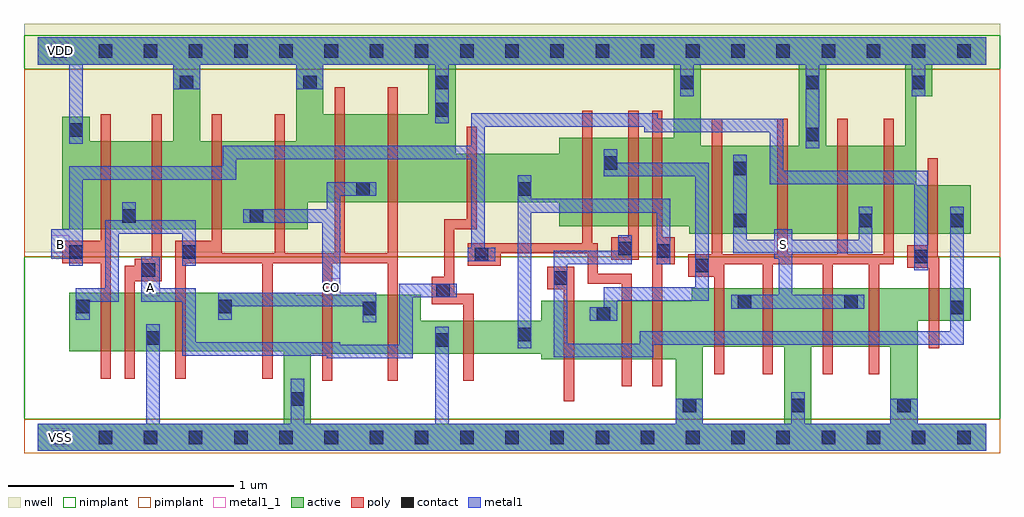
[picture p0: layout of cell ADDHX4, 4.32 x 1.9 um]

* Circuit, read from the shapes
.subckt ADDHX4 A B CO S VDD VSS
M1 n1 B n2 VSS nfet w=0.26u l=0.045u
M2 VSS A n1 VSS nfet w=0.26u l=0.045u
M3 CO n2 VSS VSS nfet w=0.26u l=0.045u m=4
M4 n3 A VSS VSS nfet w=0.145u l=0.045u
M5 n4 n5 n3 VSS nfet w=0.26u l=0.045u
M6 n6 B n4 VSS nfet w=0.26u l=0.045u
M7 VSS n3 n6 VSS nfet w=0.26u l=0.045u
M8 S n4 VSS VSS nfet w=0.26u l=0.045u m=4
M9 n5 B VSS VSS nfet w=0.145u l=0.045u
M10 n2 B VDD VDD pfet w=0.39u l=0.045u
M11 VDD A n2 VDD pfet w=0.39u l=0.045u
M12 CO n2 VDD VDD pfet w=0.39u l=0.045u m=4
M13 n3 A VDD VDD pfet w=0.215u l=0.045u
M14 n4 B n3 VDD pfet w=0.39u l=0.045u
M15 n7 n5 n4 VDD pfet w=0.39u l=0.045u
M16 VDD n3 n7 VDD pfet w=0.39u l=0.045u
M17 S n4 VDD VDD pfet w=0.39u l=0.045u m=4
M18 n5 B VDD VDD pfet w=0.215u l=0.045u
.ends

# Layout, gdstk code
import gdstk
lib = gdstk.Library(unit=1e-6, precision=5e-10)
def R(c, l, rs):  # rectangles x0, y0, x1, y1
    for r in rs: c.add(gdstk.rectangle(r[:2], r[2:], *l))
def A(c, l, x, y, w, h, nx, ny, dx, dy):  # array of equal rectangles
    R(c, l, [(x+i*dx, y+j*dy, x+i*dx+w, y+j*dy+h) for i in range(nx) for j in range(ny)])
def P(c, l, *ps):  # polygons
    for p in ps: c.add(gdstk.Polygon(p, *l))
active = (1, 0)
nwell = (2, 0)
poly = (3, 0)
nimplant = (4, 0)
pimplant = (5, 0)
contact = (6, 0)
metal1 = (7, 0)
metal1_1 = (7, 1)

addhx4 = lib.new_cell('ADDHX4')
P(addhx4, active, [(0,1.77),(4.2,1.77),(4.2,1.65),(3.96,1.65),(3.96,1.51),(3.89,1.51),(3.89,1.115),(4.13,1.115),(4.13,0.9),(2.885,0.9),(2.885,0.935),(2.31,0.935),(2.31,1.04),(1.195,1.04),(1.195,0.92),(0.11,0.92),(0.11,1.42),(0.23,1.42),(0.23,1.31),(0.6,1.31),(0.6,1.65),(0.72,1.65),(0.72,1.31),(1.145,1.31),(1.145,1.65),(1.265,1.65),(1.265,1.43),(1.73,1.43),(1.73,1.65),(1.85,1.65),(1.85,1.255),(2.31,1.255),(2.31,1.325),(2.815,1.325),(2.815,1.65),(2.935,1.65),(2.935,1.29),(3.37,1.29),(3.37,1.65),(3.49,1.65),(3.49,1.29),(3.84,1.29),(3.84,1.65),(0,1.65)],
  [(0.14,0.64),(1.14,0.64),(1.14,0.63),(1.695,0.63),(1.695,0.515),(2.23,0.515),(2.23,0.605),(2.895,0.605),(2.895,0.66),(4.13,0.66),(4.13,0.515),(3.895,0.515),(3.895,0.06),(4.2,0.06),(4.2,-0.06),(0,-0.06),(0,0.06),(1.09,0.06),(1.09,0.37),(1.21,0.37),(1.21,0.06),(2.825,0.06),(2.825,0.345),(2.23,0.345),(2.23,0.37),(1.09,0.37),(1.09,0.38),(0.14,0.38),(0.14,0.4),(2.945,0.4),(2.945,0.06),(3.305,0.06),(3.305,0.4),(3.425,0.4),(3.425,0.06),(3.775,0.06),(3.775,0.4),(0.14,0.4)])
R(addhx4, nwell, [(-0.06,0.82,4.26,1.83)])
P(addhx4, poly, [(0.28,1.43),(0.325,1.43),(0.325,0.26),(0.28,0.26),(0.28,0.77),(0.11,0.77),(0.11,0.87),(0.28,0.87)],
  [(0.505,1.43),(0.55,1.43),(0.55,0.69),(0.43,0.69),(0.43,0.26),(0.385,0.26),(0.385,0.76),(0.43,0.76),(0.43,0.79),(0.505,0.79)],
  [(0.77,1.43),(0.815,1.43),(0.815,0.815),(1.05,0.815),(1.05,1.43),(1.095,1.43),(1.095,0.815),(1.315,0.815),(1.315,1.55),(1.36,1.55),(1.36,0.815),(1.55,0.815),(1.55,1.55),(1.595,1.55),(1.595,0.25),(1.55,0.25),(1.55,0.77),(1.305,0.77),(1.305,0.25),(1.26,0.25),(1.26,0.77),(1.04,0.77),(1.04,0.26),(0.995,0.26),(0.995,0.77),(0.655,0.77),(0.655,0.26),(0.61,0.26),(0.61,0.87),(0.77,0.87)],
  [(2.41,1.445),(2.455,1.445),(2.455,0.86),(2.48,0.86),(2.48,0.725),(2.63,0.725),(2.63,0.225),(2.585,0.225),(2.585,0.68),(2.435,0.68),(2.435,0.815),(2.05,0.815),(2.05,0.76),(1.905,0.76),(1.905,0.86),(2.41,0.86)],
  [(2.615,1.445),(2.66,1.445),(2.66,0.785),(2.54,0.785),(2.54,0.885),(2.615,0.885)],
  [(2.72,1.445),(2.765,1.445),(2.765,0.885),(2.82,0.885),(2.82,0.765),(2.765,0.765),(2.765,0.225),(2.72,0.225)],
  [(1.9,1.375),(1.945,1.375),(1.945,0.92),(1.845,0.92),(1.845,0.635),(1.93,0.635),(1.93,0.25),(1.885,0.25),(1.885,0.59),(1.745,0.59),(1.745,0.71),(1.8,0.71),(1.8,0.965),(1.9,0.965)],
  [(2.985,1.41),(3.03,1.41),(3.03,0.81),(3.275,0.81),(3.275,1.41),(3.32,1.41),(3.32,0.81),(3.54,0.81),(3.54,1.41),(3.585,1.41),(3.585,0.81),(3.745,0.81),(3.745,1.41),(3.79,1.41),(3.79,0.765),(3.725,0.765),(3.725,0.28),(3.68,0.28),(3.68,0.765),(3.52,0.765),(3.52,0.28),(3.475,0.28),(3.475,0.765),(3.255,0.765),(3.255,0.28),(3.21,0.28),(3.21,0.765),(3.04,0.765),(3.04,0.28),(2.995,0.28),(2.995,0.71),(2.88,0.71),(2.88,0.81),(2.985,0.81)],
  [(3.94,1.235),(3.985,1.235),(3.985,0.795),(3.99,0.795),(3.99,0.395),(3.945,0.395),(3.945,0.75),(3.85,0.75),(3.85,0.85),(3.94,0.85)],
  [(2.255,0.755),(2.375,0.755),(2.375,0.16),(2.33,0.16),(2.33,0.655),(2.255,0.655)])
R(addhx4, nimplant, [(-0.06,0.08,4.26,0.8), (-0.06,1.63,4.26,1.78)])
R(addhx4, pimplant, [(-0.06,-0.07,4.26,0.08), (-0.06,0.8,4.26,1.63)])
A(addhx4, contact, 0.07, -0.03, 0.06, 0.06, 21, 2, 0.2, 1.71)
R(addhx4, contact, [(2.855,0.11,2.915,0.17), (3.335,0.11,3.395,0.17), (3.805,0.11,3.865,0.17), (1.12,0.14,1.18,0.2), (1.76,0.4,1.82,0.46), (0.48,0.41,0.54,0.47), (2.125,0.425,2.185,0.485), (2.475,0.515,2.535,0.575), (1.44,0.54,1.5,0.6), (4.04,0.545,4.1,0.605), (0.17,0.55,0.23,0.61), (0.8,0.55,0.86,0.61), (3.1,0.57,3.16,0.63), (3.57,0.57,3.63,0.63), (1.765,0.62,1.825,0.68), (2.285,0.675,2.345,0.735), (0.46,0.71,0.52,0.77), (2.91,0.73,2.97,0.79), (3.88,0.77,3.94,0.83), (1.935,0.78,1.995,0.84), (0.14,0.79,0.2,0.85), (0.64,0.79,0.7,0.85), (2.74,0.795,2.8,0.855), (2.57,0.805,2.63,0.865), (3.08,0.93,3.14,0.99), (3.635,0.93,3.695,0.99), (4.04,0.93,4.1,0.99), (0.375,0.95,0.435,1.01), (0.94,0.95,1,1.01), (1.41,1.07,1.47,1.13), (2.125,1.07,2.185,1.13), (3.08,1.16,3.14,1.22), (2.505,1.185,2.565,1.245), (3.4,1.31,3.46,1.37), (0.14,1.33,0.2,1.39), (1.76,1.42,1.82,1.48), (0.63,1.54,0.69,1.6), (1.175,1.54,1.235,1.6), (1.76,1.54,1.82,1.6), (2.845,1.54,2.905,1.6), (3.4,1.54,3.46,1.6), (3.87,1.54,3.93,1.6)])
P(addhx4, metal1, [(0,1.77),(4.2,1.77),(4.2,1.65),(3.93,1.65),(3.93,1.51),(3.87,1.51),(3.87,1.65),(3.46,1.65),(3.46,1.28),(3.4,1.28),(3.4,1.65),(2.905,1.65),(2.905,1.51),(2.845,1.51),(2.845,1.65),(1.82,1.65),(1.82,1.39),(1.76,1.39),(1.76,1.65),(1.265,1.65),(1.265,1.54),(1.145,1.54),(1.145,1.65),(0.72,1.65),(0.72,1.54),(0.6,1.54),(0.6,1.65),(0.2,1.65),(0.2,1.3),(0.14,1.3),(0.14,1.65),(0,1.65)],
  [(1.92,1.435),(2.745,1.435),(2.745,1.41),(3.3,1.41),(3.3,1.18),(3.94,1.18),(3.94,0.74),(3.88,0.74),(3.88,1.12),(3.24,1.12),(3.24,1.35),(2.685,1.35),(2.685,1.375),(1.98,1.375),(1.98,0.84),(2.025,0.84),(2.025,0.78),(1.905,0.78),(1.905,0.84),(1.92,0.84),(1.92,1.23),(0.88,1.23),(0.88,1.14),(0.2,1.14),(0.2,0.76),(0.14,0.76),(0.14,0.79),(0.06,0.79),(0.06,0.92),(0.14,0.92),(0.14,1.2),(0.82,1.2),(0.82,1.29),(1.92,1.29)],
  [(0.375,1.04),(0.435,1.04),(0.435,0.96),(0.7,0.96),(0.7,0.76),(0.64,0.76),(0.64,0.9),(0.36,0.9),(0.36,0.6),(0.23,0.6),(0.23,0.52),(0.17,0.52),(0.17,0.66),(0.3,0.66),(0.3,0.96),(0.375,0.96)],
  [(1.28,1.13),(1.5,1.13),(1.5,1.07),(1.34,1.07),(1.34,0.64),(1.5,0.64),(1.5,0.51),(1.44,0.51),(1.44,0.58),(0.86,0.58),(0.86,0.52),(0.8,0.52),(0.8,0.64),(1.26,0.64),(1.26,0.95),(0.91,0.95),(0.91,1.01),(1.28,1.01)],
  [(0.46,0.8),(0.54,0.8),(0.54,0.66),(0.7,0.66),(0.7,0.42),(1.34,0.42),(1.34,0.41),(1.6,0.41),(1.6,0.68),(1.855,0.68),(1.855,0.62),(1.66,0.62),(1.66,0.35),(1.28,0.35),(1.28,0.36),(0.64,0.36),(0.64,0.6),(0.46,0.6)],
  [(2.505,1.275),(2.565,1.275),(2.565,1.215),(2.97,1.215),(2.97,0.605),(2.565,0.605),(2.565,0.515),(2.445,0.515),(2.445,0.575),(2.505,0.575),(2.505,0.665),(2.91,0.665),(2.91,1.155),(2.505,1.155)],
  [(2.125,1.16),(2.185,1.16),(2.185,1.055),(2.8,1.055),(2.8,0.765),(2.74,0.765),(2.74,0.995),(2.185,0.995),(2.185,0.395),(2.125,0.395)],
  [(0.48,0.5),(0.54,0.5),(0.54,0.06),(1.12,0.06),(1.12,0.26),(1.18,0.26),(1.18,0.06),(1.76,0.06),(1.76,0.49),(1.82,0.49),(1.82,0.06),(2.825,0.06),(2.825,0.17),(2.945,0.17),(2.945,0.06),(3.335,0.06),(3.335,0.2),(3.395,0.2),(3.395,0.06),(3.775,0.06),(3.775,0.17),(3.895,0.17),(3.895,0.06),(4.2,0.06),(4.2,-0.06),(0,-0.06),(0,0.06),(0.48,0.06)],
  [(2.57,0.895),(2.63,0.895),(2.63,0.765),(2.345,0.765),(2.345,0.415),(2.665,0.415),(2.665,0.47),(4.04,0.47),(4.04,1.02),(4.1,1.02),(4.1,0.41),(2.725,0.41),(2.725,0.355),(2.285,0.355),(2.285,0.825),(2.57,0.825)],
  [(3.08,1.25),(3.14,1.25),(3.14,0.875),(3.26,0.875),(3.26,0.92),(3.34,0.92),(3.34,0.875),(3.635,0.875),(3.635,1.02),(3.695,1.02),(3.695,0.815),(3.34,0.815),(3.34,0.63),(3.66,0.63),(3.66,0.57),(3.07,0.57),(3.07,0.63),(3.28,0.63),(3.28,0.79),(3.26,0.79),(3.26,0.815),(3.08,0.815)])
A(addhx4, metal1_1, 0.06, -0.04, 0.08, 0.08, 1, 3, 0, 0.855)
R(addhx4, metal1_1, [(0.46,0.625,0.54,0.705), (1.26,0.625,1.34,0.705), (3.26,0.815,3.34,0.895)])
addhx4.add(gdstk.Label('S', (3.3,0.855), layer=7, texttype=1))
addhx4.add(gdstk.Label('CO', (1.3,0.665), layer=7, texttype=1))
addhx4.add(gdstk.Label('B', (0.1,0.855), layer=7, texttype=1))
addhx4.add(gdstk.Label('A', (0.5,0.665), layer=7, texttype=1))
addhx4.add(gdstk.Label('VDD', (0.1,1.71), layer=7, texttype=1))
addhx4.add(gdstk.Label('VSS', (0.1,0), layer=7, texttype=1))
addhx4.add(gdstk.Label('ADDHX4', (0,0), layer=63, texttype=0))

lib.write_gds('ADDHX4.gds')
